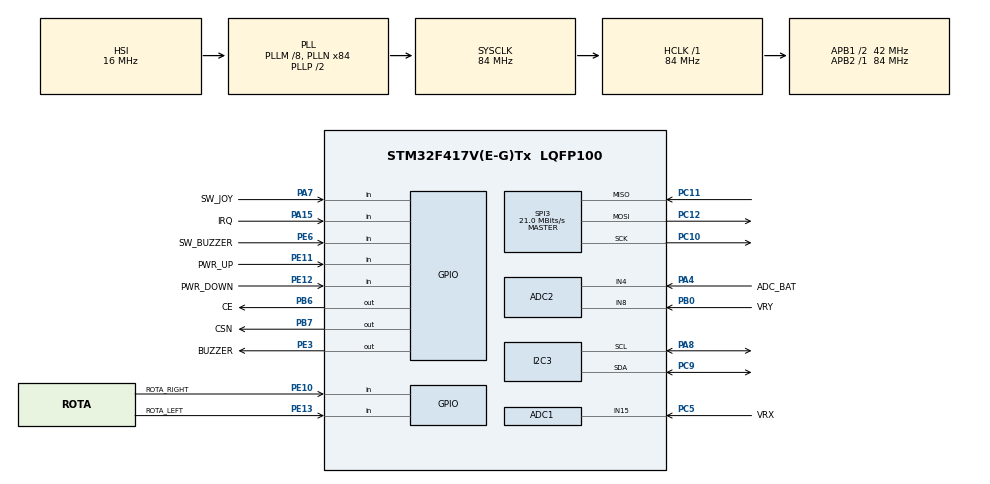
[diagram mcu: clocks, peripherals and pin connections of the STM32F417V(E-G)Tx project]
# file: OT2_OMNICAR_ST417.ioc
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ADC1.Channel-0\#ChannelRegularConversion=ADC_CHANNEL_15
ADC1.NbrOfConversionFlag=1
ADC1.Rank-0\#ChannelRegularConversion=1
ADC1.SamplingTime-0\#ChannelRegularConversion=ADC_SAMPLETIME_3CYCLES
ADC1.master=1
ADC2.Channel-0\#ChannelRegularConversion=ADC_CHANNEL_8
ADC2.NbrOfConversionFlag=1
ADC2.Rank-0\#ChannelRegularConversion=1
ADC2.SamplingTime-0\#ChannelRegularConversion=ADC_SAMPLETIME_3CYCLES
Mcu.Family=STM32F4
Mcu.Name=STM32F417V(E-G)Tx
Mcu.Package=LQFP100
NVIC.PriorityGroup=NVIC_PRIORITYGROUP_4
PA15.GPIO_Label=IRQ
PA15.Signal=GPIO_Input
PA4.GPIO_Label=ADC_BAT
PA4.Signal=ADCx_IN4
PA7.GPIO_Label=SW_JOY
PA7.Signal=GPIO_Input
PA8.Mode=I2C
PA8.Signal=I2C3_SCL
PB0.GPIO_Label=VRY
PB0.Signal=ADCx_IN8
PB6.GPIO_Label=CE
PB6.Signal=GPIO_Output
PB7.GPIO_Label=CSN
PB7.Signal=GPIO_Output
PC10.Mode=Full_Duplex_Master
PC10.Signal=SPI3_SCK
PC11.Mode=Full_Duplex_Master
PC11.Signal=SPI3_MISO
PC12.Mode=Full_Duplex_Master
PC12.Signal=SPI3_MOSI
PC5.GPIO_Label=VRX
PC5.Signal=ADCx_IN15
PC9.Mode=I2C
PC9.Signal=I2C3_SDA
PE10.GPIO_Label=ROTA_RIGHT
PE10.Signal=GPIO_Input
PE11.GPIO_Label=PWR_UP
PE11.Signal=GPIO_Input
PE12.GPIO_Label=PWR_DOWN
PE12.Signal=GPIO_Input
PE13.GPIO_Label=ROTA_LEFT
PE13.Signal=GPIO_Input
PE3.GPIO_Label=BUZZER
PE3.Signal=GPIO_Output
PE6.GPIO_Label=SW_BUZZER
PE6.Signal=GPIO_Input
PH0-OSC_IN.Mode=HSE-External-Oscillator
PH0-OSC_IN.Signal=RCC_OSC_IN
PH1-OSC_OUT.Mode=HSE-External-Oscillator
PH1-OSC_OUT.Signal=RCC_OSC_OUT
ProjectManager.HeapSize=0x200
ProjectManager.StackSize=0x400
ProjectManager.TargetToolchain=STM32CubeIDE
RCC.48MHZClocksFreq_Value=42000000
RCC.AHBFreq_Value=84000000
RCC.APB1CLKDivider=RCC_HCLK_DIV2
RCC.APB1Freq_Value=42000000
RCC.APB1TimFreq_Value=84000000
RCC.APB2Freq_Value=84000000
RCC.APB2TimFreq_Value=84000000
RCC.CortexFreq_Value=84000000
RCC.HCLKFreq_Value=84000000
RCC.HSE_VALUE=25000000
RCC.HSI_VALUE=16000000
RCC.LSE_VALUE=32768
RCC.PLLM=8
RCC.PLLN=84
RCC.SYSCLKFreq_VALUE=84000000
RCC.SYSCLKSource=RCC_SYSCLKSOURCE_PLLCLK
RCC.VCOOutputFreq_Value=168000000
SH.ADCx_IN15.0=ADC1_IN15,IN15
SH.ADCx_IN4.0=ADC2_IN4,IN4
SH.ADCx_IN8.0=ADC2_IN8,IN8
SPI3.CalculateBaudRate=21.0 MBits/s
SPI3.Direction=SPI_DIRECTION_2LINES
SPI3.Mode=SPI_MODE_MASTER
SPI3.VirtualType=VM_MASTER
board=custom

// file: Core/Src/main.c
/* USER CODE BEGIN Header */
/**
  ******************************************************************************
  * @file           : main.c
  * @brief          : Main program body
  ******************************************************************************
  * @attention
  *
  * <h2><center>&copy; Copyright (c) 2021 STMicroelectronics.
  * All rights reserved.</center></h2>
  *
  * This software component is licensed by ST under BSD 3-Clause license,
  * the "License"; You may not use this file except in compliance with the
  * License. You may obtain a copy of the License at:
  *                        opensource.org/licenses/BSD-3-Clause
  *
  ******************************************************************************
  */
/* USER CODE END Header */
#include "main.h"
#include "omnicar_inc/MY_NRF24.h"
#include "omnicar_inc/ihm.h"
#include "omnicar_inc/lcd_i2c.h"

ADC_HandleTypeDef hadc1;
ADC_HandleTypeDef hadc2;

I2C_HandleTypeDef hi2c3;

SPI_HandleTypeDef hspi3;

/* USER CODE BEGIN PV */
uint64_t TxpipeAddrs = 0x11223344AA;		// module address
uint8_t channel = 52;						// data for initialize the channel number
uint8_t payload_size = 32;					// data for initialize the payload size

static uint8_t myTxData[3];					// sent "data" for joystick position and state button
uint8_t AckPayload[3];						// receive ACK with playload (battery level and speed  car)

uint8_t counter = 0;						// use for adjust the PWM DutyCycle
uint16_t batt = 0;

/* USER CODE END PV */

void SystemClock_Config(void);
static void MX_GPIO_Init(void);
static void MX_ADC1_Init(void);
static void MX_ADC2_Init(void);
static void MX_I2C3_Init(void);
static void MX_SPI3_Init(void);

int main(void)
{

  /* MCU Configuration--------------------------------------------------------*/

  /* Reset of all peripherals, Initializes the Flash interface and the Systick. */
  HAL_Init();

  /* Configure the system clock */
  SystemClock_Config();

  /* Initialize all configured peripherals */
  MX_GPIO_Init();
  MX_ADC1_Init();
  MX_ADC2_Init();
  MX_I2C3_Init();
  MX_SPI3_Init();
  /* USER CODE BEGIN 2 */

  /* NRF */
  NRF24_begin(CSN_GPIO_Port, CSN_Pin, CE_Pin, hspi3);					// Initialization of all register into there reset value
  NRF24_transmitInit(TxpipeAddrs, channel, payload_size);				// Call function for initialization of transmission

  /* LCD I2C */
  lcd_i2c_init(&hi2c3);													// Call function for initialization of LCD
  lcd_i2c_text_placement();												// Function call for the placement of the static text on the screen
  /* USER CODE END 2 */

  /* Infinite loop */
  /* USER CODE BEGIN WHILE */
  while (1)
  {
	  ihm_joystick(&hadc1, &hadc2, myTxData);													// Function call for the joystick placement
	  counter = ihm_PWR_button(GPIOE, PWR_UP_Pin, PWR_DOWN_Pin, myTxData);						// Function call which return the state of the power counter
	  ihm_buzzer_ON_OFF(SW_BUZZER_GPIO_Port, SW_BUZZER_Pin, myTxData);							// Function call to active buzzer
	  ihm_ROTA_button(ROTA_LEFT_GPIO_Port, ROTA_LEFT_Pin, ROTA_RIGHT_Pin, myTxData);			// Function call for the power rotation button

	  HAL_Delay(5);																				// delay of 5 ms

	  NRF24_dataTransmission(myTxData, 3, AckPayload, 3);										// Function call for data transmission and ack

	  ihm_active_buzzer(BUZZER_GPIO_Port, BUZZER_Pin, AckPayload);								// Function call for active buzzer

	  batt = ihm_getBatteryLevel(&hadc2);														// Function call to calculate the percent of battery remaining

	  lcd_i2c_power_state(counter);																// Function call to display the power management on the LCD
	  lcd_i2c_bat0T1_state(myTxData);															// Function call to display the battery percent of OT1
	  lcd_i2c_bat0T2_state(batt);																// Function call to display the battery percent of OT2
    /* USER CODE END WHILE */

  }
}

void SystemClock_Config(void)
{
  RCC_OscInitTypeDef RCC_OscInitStruct = {0};
  RCC_ClkInitTypeDef RCC_ClkInitStruct = {0};

  /** Configure the main internal regulator output voltage
  */
  __HAL_RCC_PWR_CLK_ENABLE();
  __HAL_PWR_VOLTAGESCALING_CONFIG(PWR_REGULATOR_VOLTAGE_SCALE1);
  /** Initializes the RCC Oscillators according to the specified parameters
  * in the RCC_OscInitTypeDef structure.
  */
  RCC_OscInitStruct.OscillatorType = RCC_OSCILLATORTYPE_HSI;
  RCC_OscInitStruct.HSIState = RCC_HSI_ON;
  RCC_OscInitStruct.HSICalibrationValue = RCC_HSICALIBRATION_DEFAULT;
  RCC_OscInitStruct.PLL.PLLState = RCC_PLL_ON;
  RCC_OscInitStruct.PLL.PLLSource = RCC_PLLSOURCE_HSI;
  RCC_OscInitStruct.PLL.PLLM = 8;
  RCC_OscInitStruct.PLL.PLLN = 84;
  RCC_OscInitStruct.PLL.PLLP = RCC_PLLP_DIV2;
  RCC_OscInitStruct.PLL.PLLQ = 4;
  if (HAL_RCC_OscConfig(&RCC_OscInitStruct) != HAL_OK)
  {
    Error_Handler();
  }
  /** Initializes the CPU, AHB and APB buses clocks
  */
  RCC_ClkInitStruct.ClockType = RCC_CLOCKTYPE_HCLK|RCC_CLOCKTYPE_SYSCLK
                              |RCC_CLOCKTYPE_PCLK1|RCC_CLOCKTYPE_PCLK2;
  RCC_ClkInitStruct.SYSCLKSource = RCC_SYSCLKSOURCE_PLLCLK;
  RCC_ClkInitStruct.AHBCLKDivider = RCC_SYSCLK_DIV1;
  RCC_ClkInitStruct.APB1CLKDivider = RCC_HCLK_DIV2;
  RCC_ClkInitStruct.APB2CLKDivider = RCC_HCLK_DIV1;

  if (HAL_RCC_ClockConfig(&RCC_ClkInitStruct, FLASH_LATENCY_2) != HAL_OK)
  {
    Error_Handler();
  }
}

static void MX_ADC1_Init(void)
{

  ADC_ChannelConfTypeDef sConfig = {0};

  /** Configure the global features of the ADC (Clock, Resolution, Data Alignment and number of conversion)
  */
  hadc1.Instance = ADC1;
  hadc1.Init.ClockPrescaler = ADC_CLOCK_SYNC_PCLK_DIV4;
  hadc1.Init.Resolution = ADC_RESOLUTION_12B;
  hadc1.Init.ScanConvMode = DISABLE;
  hadc1.Init.ContinuousConvMode = DISABLE;
  hadc1.Init.DiscontinuousConvMode = DISABLE;
  hadc1.Init.ExternalTrigConvEdge = ADC_EXTERNALTRIGCONVEDGE_NONE;
  hadc1.Init.ExternalTrigConv = ADC_SOFTWARE_START;
  hadc1.Init.DataAlign = ADC_DATAALIGN_RIGHT;
  hadc1.Init.NbrOfConversion = 1;
  hadc1.Init.DMAContinuousRequests = DISABLE;
  hadc1.Init.EOCSelection = ADC_EOC_SINGLE_CONV;
  if (HAL_ADC_Init(&hadc1) != HAL_OK)
  {
    Error_Handler();
  }
  /** Configure for the selected ADC regular channel its corresponding rank in the sequencer and its sample time.
  */
  sConfig.Channel = ADC_CHANNEL_15;
  sConfig.Rank = 1;
  sConfig.SamplingTime = ADC_SAMPLETIME_3CYCLES;
  if (HAL_ADC_ConfigChannel(&hadc1, &sConfig) != HAL_OK)
  {
    Error_Handler();
  }

}

static void MX_ADC2_Init(void)
{

  ADC_ChannelConfTypeDef sConfig = {0};

  /** Configure the global features of the ADC (Clock, Resolution, Data Alignment and number of conversion)
  */
  hadc2.Instance = ADC2;
  hadc2.Init.ClockPrescaler = ADC_CLOCK_SYNC_PCLK_DIV4;
  hadc2.Init.Resolution = ADC_RESOLUTION_12B;
  hadc2.Init.ScanConvMode = DISABLE;
  hadc2.Init.ContinuousConvMode = DISABLE;
  hadc2.Init.DiscontinuousConvMode = DISABLE;
  hadc2.Init.ExternalTrigConvEdge = ADC_EXTERNALTRIGCONVEDGE_NONE;
  hadc2.Init.ExternalTrigConv = ADC_SOFTWARE_START;
  hadc2.Init.DataAlign = ADC_DATAALIGN_RIGHT;
  hadc2.Init.NbrOfConversion = 1;
  hadc2.Init.DMAContinuousRequests = DISABLE;
  hadc2.Init.EOCSelection = ADC_EOC_SINGLE_CONV;
  if (HAL_ADC_Init(&hadc2) != HAL_OK)
  {
    Error_Handler();
  }
  /** Configure for the selected ADC regular channel its corresponding rank in the sequencer and its sample time.
  */
  sConfig.Channel = ADC_CHANNEL_8;
  sConfig.Rank = 1;
  sConfig.SamplingTime = ADC_SAMPLETIME_3CYCLES;
  if (HAL_ADC_ConfigChannel(&hadc2, &sConfig) != HAL_OK)
  {
    Error_Handler();
  }

}

static void MX_I2C3_Init(void)
{

  hi2c3.Instance = I2C3;
  hi2c3.Init.ClockSpeed = 100000;
  hi2c3.Init.DutyCycle = I2C_DUTYCYCLE_2;
  hi2c3.Init.OwnAddress1 = 0;
  hi2c3.Init.AddressingMode = I2C_ADDRESSINGMODE_7BIT;
  hi2c3.Init.DualAddressMode = I2C_DUALADDRESS_DISABLE;
  hi2c3.Init.OwnAddress2 = 0;
  hi2c3.Init.GeneralCallMode = I2C_GENERALCALL_DISABLE;
  hi2c3.Init.NoStretchMode = I2C_NOSTRETCH_DISABLE;
  if (HAL_I2C_Init(&hi2c3) != HAL_OK)
  {
    Error_Handler();
  }

}

static void MX_SPI3_Init(void)
{

  /* SPI3 parameter configuration*/
  hspi3.Instance = SPI3;
  hspi3.Init.Mode = SPI_MODE_MASTER;
  hspi3.Init.Direction = SPI_DIRECTION_2LINES;
  hspi3.Init.DataSize = SPI_DATASIZE_8BIT;
  hspi3.Init.CLKPolarity = SPI_POLARITY_LOW;
  hspi3.Init.CLKPhase = SPI_PHASE_1EDGE;
  hspi3.Init.NSS = SPI_NSS_SOFT;
  hspi3.Init.BaudRatePrescaler = SPI_BAUDRATEPRESCALER_2;
  hspi3.Init.FirstBit = SPI_FIRSTBIT_MSB;
  hspi3.Init.TIMode = SPI_TIMODE_DISABLE;
  hspi3.Init.CRCCalculation = SPI_CRCCALCULATION_DISABLE;
  hspi3.Init.CRCPolynomial = 10;
  if (HAL_SPI_Init(&hspi3) != HAL_OK)
  {
    Error_Handler();
  }

}

static void MX_GPIO_Init(void)
{
  GPIO_InitTypeDef GPIO_InitStruct = {0};

  /* GPIO Ports Clock Enable */
  __HAL_RCC_GPIOE_CLK_ENABLE();
  __HAL_RCC_GPIOH_CLK_ENABLE();
  __HAL_RCC_GPIOA_CLK_ENABLE();
  __HAL_RCC_GPIOC_CLK_ENABLE();
  __HAL_RCC_GPIOB_CLK_ENABLE();

  /*Configure GPIO pin Output Level */
  HAL_GPIO_WritePin(BUZZER_GPIO_Port, BUZZER_Pin, GPIO_PIN_RESET);

  /*Configure GPIO pin Output Level */
  HAL_GPIO_WritePin(GPIOB, CE_Pin|CSN_Pin, GPIO_PIN_RESET);

  /*Configure GPIO pin : BUZZER_Pin */
  GPIO_InitStruct.Pin = BUZZER_Pin;
  GPIO_InitStruct.Mode = GPIO_MODE_OUTPUT_PP;
  GPIO_InitStruct.Pull = GPIO_NOPULL;
  GPIO_InitStruct.Speed = GPIO_SPEED_FREQ_LOW;
  HAL_GPIO_Init(BUZZER_GPIO_Port, &GPIO_InitStruct);

  /*Configure GPIO pins : SW_BUZZER_Pin ROTA_RIGHT_Pin PWR_UP_Pin PWR_DOWN_Pin
                           ROTA_LEFT_Pin */
  GPIO_InitStruct.Pin = SW_BUZZER_Pin|ROTA_RIGHT_Pin|PWR_UP_Pin|PWR_DOWN_Pin
                          |ROTA_LEFT_Pin;
  GPIO_InitStruct.Mode = GPIO_MODE_INPUT;
  GPIO_InitStruct.Pull = GPIO_NOPULL;
  HAL_GPIO_Init(GPIOE, &GPIO_InitStruct);

  /*Configure GPIO pins : SW_JOY_Pin IRQ_Pin */
  GPIO_InitStruct.Pin = SW_JOY_Pin|IRQ_Pin;
  GPIO_InitStruct.Mode = GPIO_MODE_INPUT;
  GPIO_InitStruct.Pull = GPIO_NOPULL;
  HAL_GPIO_Init(GPIOA, &GPIO_InitStruct);

  /*Configure GPIO pins : CE_Pin CSN_Pin */
  GPIO_InitStruct.Pin = CE_Pin|CSN_Pin;
  GPIO_InitStruct.Mode = GPIO_MODE_OUTPUT_PP;
  GPIO_InitStruct.Pull = GPIO_NOPULL;
  GPIO_InitStruct.Speed = GPIO_SPEED_FREQ_LOW;
  HAL_GPIO_Init(GPIOB, &GPIO_InitStruct);

}

void Error_Handler(void)
{
}

/************************ (C) COPYRIGHT STMicroelectronics *****END OF FILE****/
